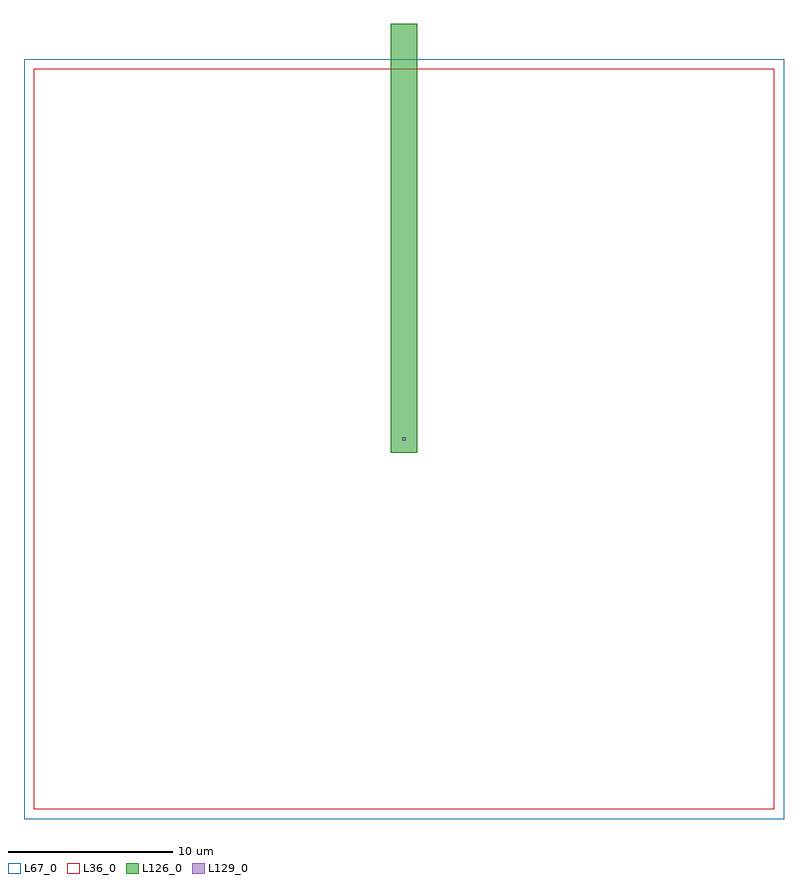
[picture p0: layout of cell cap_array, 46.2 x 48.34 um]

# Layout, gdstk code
import gdstk
lib = gdstk.Library(unit=1e-6, precision=1e-09)
def R(c, l, rs):  # rectangles x0, y0, x1, y1
    for r in rs: c.add(gdstk.rectangle(r[:2], r[2:], *l))
L36_0 = (36, 0)
L67_0 = (67, 0)
L126_0 = (126, 0)
L129_0 = (129, 0)

cap_array = lib.new_cell('cap_array')
R(cap_array, L36_0, [(0.6,0.6,45.6,45.6)])
R(cap_array, L67_0, [(0,0,46.2,46.2)])
R(cap_array, L126_0, [(22.28,22.28,23.92,23.92), (22.28,23.92,23.92,46.7), (22.28,46.7,23.92,48.34)])
R(cap_array, L129_0, [(22.99,22.99,23.21,23.21)])

lib.write_gds('cap_array.gds')
